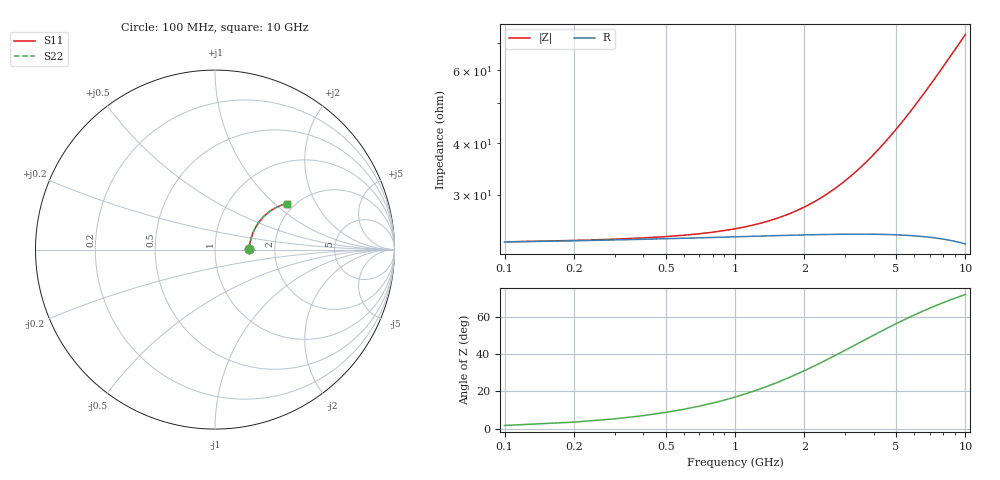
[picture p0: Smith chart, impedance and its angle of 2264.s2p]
# Hz S RI R 50.00
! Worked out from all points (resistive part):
!   100 points, 100 MHz to 10 GHz, reference 50 ohm
!   read as one part in series: R = 23.1 ohm at 100 MHz
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1e8  0.1877 0.00388  0.8123 -0.00564  0.8123 -0.00564  0.1877 0.00388
6e8  0.1919 0.023  0.8081 -0.0336  0.8081 -0.0336  0.1919 0.023
1e9  0.1949 0.0381  0.8049 -0.0557  0.8049 -0.0557  0.1949 0.0381
1.4e9  0.1984 0.0529  0.8012 -0.0776  0.8012 -0.0776  0.1984 0.0529
1.8e9  0.2026 0.0676  0.7969 -0.0993  0.7969 -0.0993  0.2026 0.0676
2.1e9  0.2061 0.0783  0.7931 -0.1153  0.7931 -0.1153  0.2061 0.0783
2.4e9  0.21 0.0889  0.789 -0.1312  0.789 -0.1312  0.21 0.0889
2.9e9  0.2174 0.1061  0.7811 -0.1572  0.7811 -0.1572  0.2174 0.1061
3.4e9  0.2258 0.1226  0.7722 -0.1826  0.7722 -0.1826  0.2258 0.1226
4.2e9  0.2413 0.1475  0.7557 -0.2217  0.7557 -0.2217  0.2413 0.1475
4.7e9  0.2521 0.162  0.7441 -0.2451  0.7441 -0.2451  0.2521 0.162
5.1e9  0.2613 0.173  0.7342 -0.2631  0.7342 -0.2631  0.2613 0.173
5.5e9  0.271 0.1834  0.7238 -0.2806  0.7238 -0.2806  0.271 0.1834
5.9e9  0.2812 0.1932  0.7128 -0.2975  0.7128 -0.2975  0.2812 0.1932
6.3e9  0.2917 0.2023  0.7015 -0.3138  0.7015 -0.3138  0.2917 0.2023
6.7e9  0.3026 0.2108  0.6897 -0.3295  0.6897 -0.3295  0.3026 0.2108
7.1e9  0.3137 0.2187  0.6775 -0.3446  0.6775 -0.3446  0.3137 0.2187
7.5e9  0.3251 0.2259  0.6651 -0.359  0.6651 -0.359  0.3251 0.2259
7.9e9  0.3368 0.2325  0.6524 -0.3727  0.6524 -0.3727  0.3368 0.2325
8.4e9  0.3516 0.2398  0.6361 -0.3891  0.6361 -0.3891  0.3516 0.2398
9.2e9  0.3756 0.2494  0.6096 -0.4132  0.6096 -0.4132  0.3756 0.2494
1e10  0.3998 0.2565  0.5826 -0.4349  0.5826 -0.4349  0.3998 0.2565
